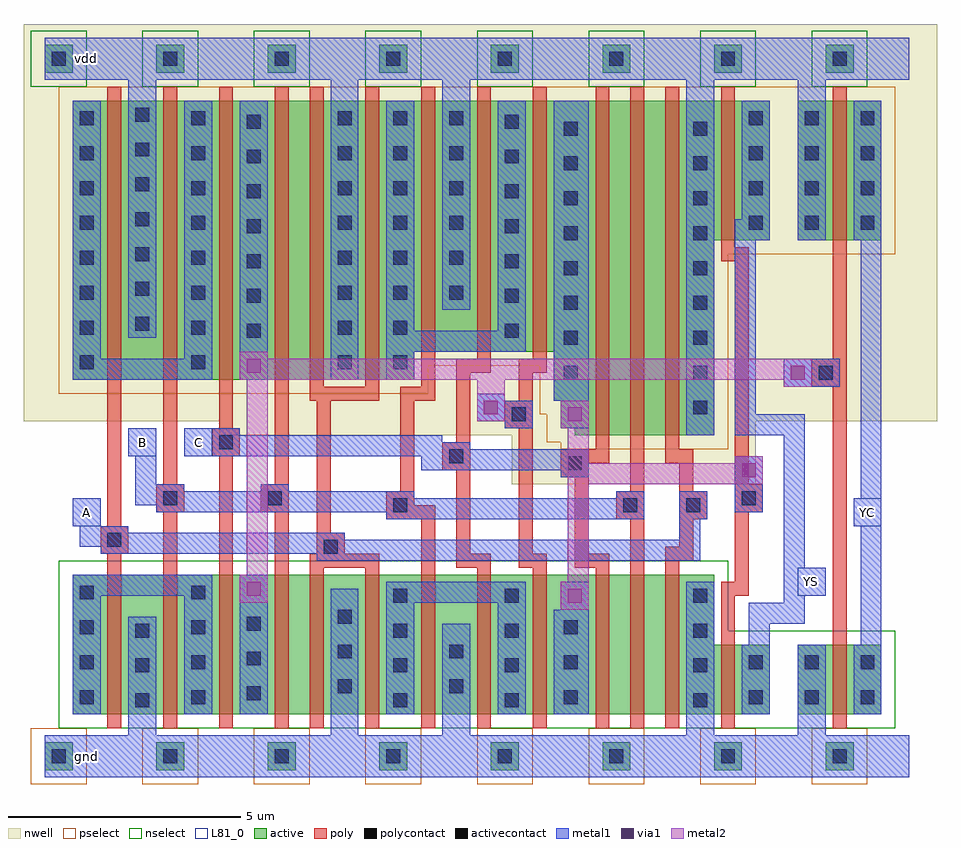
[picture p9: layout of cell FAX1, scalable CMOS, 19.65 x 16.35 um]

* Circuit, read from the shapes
.subckt FAX1 A B C YC YS gnd vdd
M1 gnd A n1 gnd nfet w=3u l=0.3u
M2 n1 B gnd gnd nfet w=3u l=0.3u
M3 n2 C n1 gnd nfet w=3u l=0.3u
M4 n3 B n2 gnd nfet w=3u l=0.3u
M5 gnd A n3 gnd nfet w=3u l=0.3u
M6 n4 A gnd gnd nfet w=3u l=0.3u
M7 gnd B n4 gnd nfet w=3u l=0.3u
M8 n4 C gnd gnd nfet w=3u l=0.3u
M9 n5 n2 n4 gnd nfet w=3u l=0.3u
M10 n6 C n5 gnd nfet w=3u l=0.3u
M11 n7 B n6 gnd nfet w=3u l=0.3u
M12 gnd A n7 gnd nfet w=3u l=0.3u
M13 YS n5 gnd gnd nfet w=1.5u l=0.3u
M14 YC n2 gnd gnd nfet w=1.5u l=0.3u
M15 vdd A n8 vdd pfet w=6u l=0.3u
M16 n8 B vdd vdd pfet w=6u l=0.3u
M17 n2 C n8 vdd pfet w=6u l=0.3u
M18 n9 B n2 vdd pfet w=6u l=0.3u
M19 vdd A n9 vdd pfet w=6u l=0.3u
M20 n10 A vdd vdd pfet w=6u l=0.3u
M21 vdd B n10 vdd pfet w=5.4u l=0.3u
M22 n10 C vdd vdd pfet w=5.4u l=0.3u
M23 n5 n2 n10 vdd pfet w=5.4u l=0.3u
M24 n11 C n5 vdd pfet w=7.2u l=0.3u
M25 n12 B n11 vdd pfet w=7.2u l=0.3u
M26 vdd A n12 vdd pfet w=7.2u l=0.3u
M27 YS n5 vdd vdd pfet w=3u l=0.3u
M28 YC n2 vdd vdd pfet w=3u l=0.3u
.ends

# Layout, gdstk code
import gdstk
lib = gdstk.Library(unit=1e-6, precision=1e-09)
def R(c, l, rs):  # rectangles x0, y0, x1, y1
    for r in rs: c.add(gdstk.rectangle(r[:2], r[2:], *l))
def A(c, l, x, y, w, h, nx, ny, dx, dy):  # array of equal rectangles
    R(c, l, [(x+i*dx, y+j*dy, x+i*dx+w, y+j*dy+h) for i in range(nx) for j in range(ny)])
nwell = (42, 0)
active = (43, 0)
pselect = (44, 0)
nselect = (45, 0)
poly = (46, 0)
polycontact = (47, 0)
activecontact = (48, 0)
metal1 = (49, 0)
via1 = (50, 0)
metal2 = (51, 0)
L81_0 = (81, 0)

fax1 = lib.new_cell('FAX1')
R(fax1, nwell, [(9.75,5.85,15,6.9), (3.45,6.9,15,7.2), (-0.75,7.2,18.9,15.75)])
A(fax1, active, -0.3, -0.3, 0.6, 0.6, 8, 2, 2.4, 15)
R(fax1, active, [(0.3,0.9,15.3,2.4), (15.9,0.9,17.7,2.4), (0.3,2.4,14.1,3.9), (11.1,6.9,14.1,7.05), (10.8,7.05,14.1,7.65), (10.65,7.65,14.1,8.7), (0.3,8.1,7.65,8.7), (0.3,8.7,14.1,11.1), (0.3,11.1,15.3,14.1), (15.9,11.1,17.7,14.1)])
A(fax1, pselect, -0.6, -0.6, 1.2, 1.2, 8, 1, 2.4, 0)
R(fax1, pselect, [(10.8,6.6,14.4,6.75), (10.5,6.75,14.4,7.35), (10.35,7.35,14.4,8.4), (0,7.8,7.95,8.4), (0,8.4,14.4,10.8), (0,10.8,18,14.4)])
A(fax1, nselect, -0.6, 14.4, 1.2, 1.2, 8, 1, 2.4, 0)
R(fax1, nselect, [(0,0.6,18,2.7), (0,2.7,14.4,4.2)])
A(fax1, poly, 5.4, 7.95, 0.3, 6.45, 3, 1, 1.2, 0)
R(fax1, poly, [(1.05,0.6,1.35,4.35), (2.25,0.6,2.55,5.25), (3.45,0.6,3.75,6.45), (4.65,0.6,4.95,5.25), (5.4,0.6,5.7,4.05), (6.6,0.6,6.9,4.05), (7.8,0.6,8.1,5.1), (9,0.6,9.3,4.05), (10.2,0.6,10.5,4.05), (11.55,0.6,11.85,4.05), (12.3,0.6,12.6,5.1), (13.05,0.6,13.35,4.2), (14.25,0.6,14.55,3.45), (16.65,0.6,16.95,7.95), (14.25,3.45,14.85,3.75), (14.55,3.75,14.85,5.25), (5.4,4.05,6.9,4.35), (8.55,4.05,9.3,4.35), (9.9,4.05,10.5,4.35), (11.1,4.05,11.85,4.35), (13.05,4.2,13.65,4.5), (0.9,4.35,1.5,4.95), (5.55,4.35,6.15,4.8), (8.55,4.35,8.85,6.15), (9.9,4.35,10.2,7.05), (11.1,4.35,11.4,6), (13.35,4.5,13.65,5.1), (5.55,4.8,5.85,7.65), (1.05,4.95,1.35,14.4), (7.05,5.1,8.1,5.4), (12,5.1,12.6,5.7), (13.35,5.1,13.95,5.7), (2.1,5.25,2.7,5.85), (4.35,5.25,4.95,5.85), (14.55,5.25,15.15,5.85), (7.05,5.4,7.65,5.7), (7.35,5.7,7.65,7.65), (12.3,5.7,12.6,14.4), (13.35,5.7,13.65,6.3), (2.25,5.85,2.55,14.4), (4.65,5.85,4.95,14.4), (14.55,5.85,14.85,10.65), (10.8,6,11.4,6.3), (8.25,6.15,8.85,6.75), (10.8,6.3,11.85,6.6), (13.05,6.3,13.65,6.6), (3.3,6.45,3.9,7.05), (11.55,6.6,11.85,14.4), (13.05,6.6,13.35,14.4), (8.55,6.75,8.85,8.25), (3.45,7.05,3.75,14.4), (9.6,7.05,10.2,7.65), (5.4,7.65,6.9,7.95), (7.35,7.65,8.1,7.95), (9.9,7.65,10.2,8.25), (16.2,7.95,16.95,8.55), (8.55,8.25,9.3,8.55), (9.9,8.25,10.5,8.55), (9,8.55,9.3,14.4), (10.2,8.55,10.5,14.4), (16.65,8.55,16.95,14.4), (14.25,10.65,14.85,10.95), (14.25,10.95,14.55,14.4)])
R(fax1, polycontact, [(5.7,4.35,6,4.65), (1.05,4.5,1.35,4.8), (7.2,5.25,7.5,5.55), (12.15,5.25,12.45,5.55), (13.5,5.25,13.8,5.55), (2.25,5.4,2.55,5.7), (4.5,5.4,4.8,5.7), (14.7,5.4,15,5.7), (10.95,6.15,11.25,6.45), (8.4,6.3,8.7,6.6), (3.45,6.6,3.75,6.9), (9.75,7.2,10.05,7.5), (16.35,8.1,16.65,8.4)])
A(fax1, activecontact, -0.15, -0.15, 0.3, 0.3, 8, 2, 2.4, 15)
A(fax1, activecontact, 1.65, 1.05, 0.3, 0.3, 1, 3, 0, 0.75)
A(fax1, activecontact, 7.2, 1.05, 0.3, 0.3, 1, 4, 0, 0.75)
A(fax1, activecontact, 9.6, 1.05, 0.3, 0.3, 1, 4, 0, 0.75)
A(fax1, activecontact, 13.65, 1.05, 0.3, 0.3, 1, 4, 0, 0.75)
A(fax1, activecontact, 0.45, 1.12, 0.3, 0.3, 1, 4, 0, 0.75)
A(fax1, activecontact, 2.85, 1.12, 0.3, 0.3, 1, 4, 0, 0.75)
A(fax1, activecontact, 10.87, 1.12, 0.3, 0.3, 1, 3, 0, 0.75)
A(fax1, activecontact, 14.85, 1.12, 0.3, 0.3, 3, 2, 1.2, 0.75)
A(fax1, activecontact, 4.05, 1.2, 0.3, 0.3, 1, 3, 0, 0.75)
A(fax1, activecontact, 6, 1.35, 0.3, 0.3, 1, 3, 0, 0.75)
A(fax1, activecontact, 13.65, 7.35, 0.3, 0.3, 1, 9, 0, 0.75)
A(fax1, activecontact, 10.87, 8.1, 0.3, 0.3, 1, 8, 0, 0.75)
A(fax1, activecontact, 0.45, 8.32, 0.3, 0.3, 1, 8, 0, 0.75)
A(fax1, activecontact, 2.85, 8.32, 0.3, 0.3, 1, 8, 0, 0.75)
A(fax1, activecontact, 4.05, 9, 0.3, 0.3, 1, 7, 0, 0.75)
A(fax1, activecontact, 9.6, 9, 0.3, 0.3, 1, 7, 0, 0.75)
A(fax1, activecontact, 1.65, 9.15, 0.3, 0.3, 1, 7, 0, 0.75)
A(fax1, activecontact, 6, 9.82, 0.3, 0.3, 3, 6, 1.2, 0.75)
A(fax1, activecontact, 14.85, 11.32, 0.3, 0.3, 3, 4, 1.2, 0.75)
R(fax1, activecontact, [(8.4,1.35,8.7,1.65), (8.4,2.1,8.7,2.4), (6,8.32,6.3,8.62), (7.2,8.32,7.5,8.62), (6,9.07,6.3,9.37), (7.2,9.07,7.5,9.37)])
R(fax1, metal1, [(-0.3,-0.45,18.3,0.45), (1.5,0.45,2.1,3), (5.85,0.45,6.45,3.6), (8.25,0.45,8.85,2.85), (13.5,0.45,14.1,3.75), (15.9,0.45,16.5,2.4), (0.3,0.9,0.9,3.45), (2.7,0.9,3.3,3.45), (3.9,0.9,4.5,3.9), (7.05,0.9,7.65,3.3), (9.45,0.9,10.05,3.3), (10.65,0.9,11.4,3.15), (14.7,0.9,15.3,2.4), (17.1,0.9,17.7,2.4), (14.85,2.4,15.3,2.85), (17.25,2.4,17.7,4.95), (14.85,2.85,16.05,3.3), (10.8,3.15,11.4,3.75), (7.05,3.3,10.05,3.75), (15.6,3.3,16.05,3.45), (0.3,3.45,3.3,3.9), (15.6,3.45,16.5,4.05), (15.6,4.05,16.05,6.9), (5.55,4.2,13.8,4.35), (0.9,4.35,13.8,4.5), (0.45,4.5,13.8,4.65), (0.45,4.65,6.15,4.8), (13.35,4.65,13.8,5.1), (0.45,4.8,1.5,4.95), (0.3,4.95,0.9,5.55), (17.1,4.95,17.7,5.55), (7.05,5.1,12.6,5.25), (13.35,5.1,13.95,5.7), (2.1,5.25,12.6,5.4), (14.55,5.25,15.15,6.45), (1.65,5.4,12.6,5.55), (1.65,5.55,7.65,5.7), (12,5.55,12.6,5.7), (17.25,5.55,17.7,11.1), (1.65,5.7,2.7,5.85), (4.35,5.7,4.95,5.85), (1.65,5.85,2.1,6.45), (10.8,6,11.4,6.15), (7.8,6.15,11.4,6.45), (1.5,6.45,2.1,7.05), (2.7,6.45,11.4,6.6), (2.7,6.6,8.85,6.75), (2.7,6.75,8.25,6.9), (2.7,6.9,3.9,7.05), (13.5,6.9,14.1,14.55), (14.55,6.9,16.05,7.35), (9.6,7.05,10.2,7.2), (10.8,7.05,11.4,7.65), (9,7.2,10.2,7.65), (14.55,7.35,15,11.1), (9,7.65,9.6,7.8), (10.65,7.65,11.4,14.1), (15.6,7.95,16.8,8.55), (0.3,8.1,3.3,8.55), (3.9,8.1,4.5,14.1), (5.85,8.1,6.45,14.55), (7.05,8.1,7.65,8.7), (0.3,8.55,0.9,14.1), (2.7,8.55,3.3,14.1), (7.05,8.7,10.05,9.15), (1.5,9,2.1,14.55), (7.05,9.15,7.65,14.1), (9.45,9.15,10.05,14.1), (8.25,9.6,8.85,14.55), (14.55,11.1,15.3,11.55), (15.9,11.1,16.5,14.55), (17.1,11.1,17.7,14.1), (14.7,11.55,15.3,14.1), (-0.3,14.55,18.3,15.45)])
R(fax1, via1, [(10.95,3.3,11.25,3.6), (4.05,3.45,4.35,3.75), (14.7,6,15,6.3), (10.95,7.2,11.25,7.5), (9.15,7.35,9.45,7.65), (15.75,8.1,16.05,8.4), (4.05,8.25,4.35,8.55)])
R(fax1, metal2, [(10.8,3.15,11.4,3.75), (3.9,3.3,4.5,3.9), (10.95,3.75,11.4,5.85), (4.05,3.9,4.5,8.1), (10.95,5.85,15.15,6.3), (10.95,6.3,11.4,7.05), (14.55,6.3,15.15,6.45), (10.8,7.05,11.4,7.65), (9,7.2,9.6,8.1), (15.6,7.95,16.2,8.1), (3.9,8.1,16.2,8.55), (3.9,8.55,4.5,8.7)])
R(fax1, L81_0, [(15.9,3.45,16.5,4.05), (0.3,4.95,0.9,5.55), (17.1,4.95,17.7,5.55), (1.5,6.45,2.1,7.05), (2.7,6.45,3.3,7.05)])
fax1.add(gdstk.Label('gnd', (0.6,0), layer=109, texttype=0))
fax1.add(gdstk.Label('vdd', (0.6,15), layer=109, texttype=0))
fax1.add(gdstk.Label('A', (0.6,5.25), layer=109, texttype=0))
fax1.add(gdstk.Label('B', (1.8,6.75), layer=109, texttype=0))
fax1.add(gdstk.Label('C', (3,6.75), layer=109, texttype=0))
fax1.add(gdstk.Label('YC', (17.4,5.25), layer=109, texttype=0))
fax1.add(gdstk.Label('YS', (16.2,3.75), layer=109, texttype=0))

lib.write_gds('FAX1.gds')
